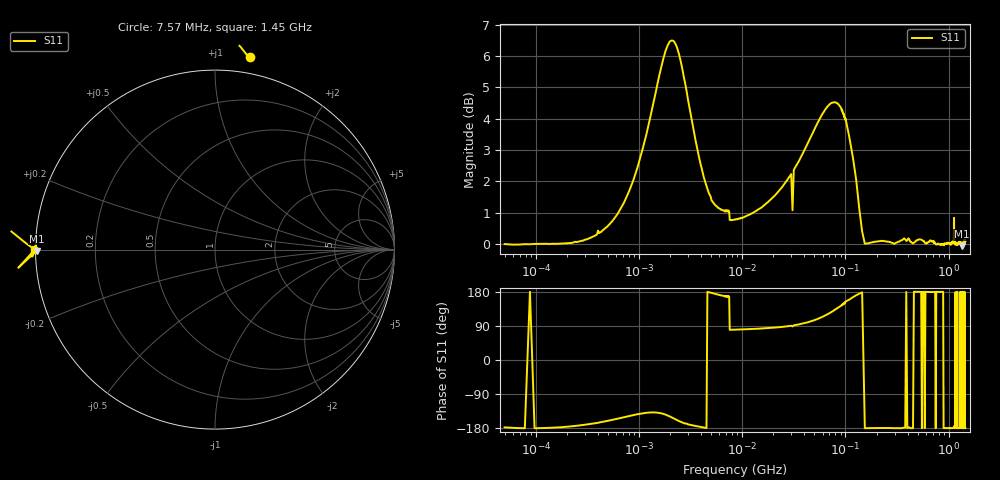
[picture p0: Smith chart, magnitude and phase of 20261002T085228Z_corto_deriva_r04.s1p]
! piloto_deriva / corto_deriva / r04
# HZ S RI R 50
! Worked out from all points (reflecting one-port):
!   501 points, 50 kHz to 1.45 GHz, reference 50 ohm
!   lowest |S11| = -0.1 dB at 1.342 GHz (marker M1), VSWR 245.77, Z = 0.203 - j0.179 ohm
!   phase of S11 starts at -178 deg and turns -2 deg over the sweep
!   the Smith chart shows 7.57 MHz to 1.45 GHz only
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50000  -0.9989 -0.0377
183000  -1 -0.0515
382500  -1.004 -0.2422
658000  -1.014 -0.5101
1180000  -1.134 -0.9748
1630000  -1.468 -1.212
1990000  -1.803 -1.085
2170000  -1.897 -0.9169
2440000  -1.902 -0.649
3160000  -1.597 -0.2396
4330000  -1.264 -0.0292
7300000  -1.096 0.2609
7750000  0.1943 1.075
8560000  0.1875 1.077
1.9e7  0.1093 1.173
3.16e7  -0.0347 1.313
4.69e7  -0.3239 1.453
6.67e7  -0.8357 1.427
7.93e7  -1.14 1.238
9.46e7  -1.363 0.8773
9.82e7  -1.402 0.7624
1e8  -1.426 0.6953
1.18e8  -1.331 0.3399
1.36e8  -1.134 0.1008
1.63e8  -1.002 -0.00302
4.06e8  -1.02 -0.0384
1.342e9  -0.9919 -0.0071
1.45e9  -1.01 -0.00442
